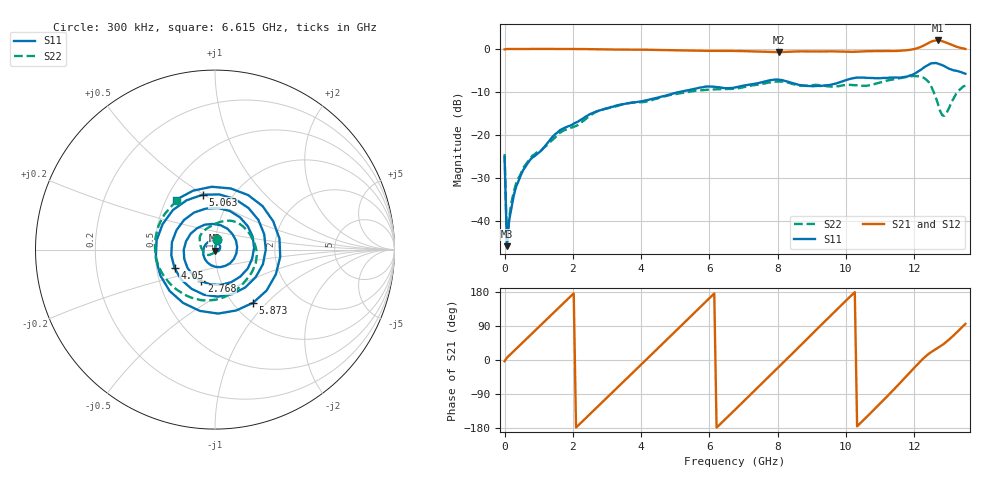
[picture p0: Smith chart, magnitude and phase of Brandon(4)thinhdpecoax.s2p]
!Agilent Technologies,N5230C,MY48100320,A.08.04.10
!Agilent N5230C: A.08.04.10
!Date: Thursday, July 07, 2016 05:45:58
!Correction: S11(Full 2 Port(1,2))
!S21(Full 2 Port(1,2))
!S12(Full 2 Port(1,2))
!S22(Full 2 Port(1,2))
!S2P File: Measurements: S11, S21, S12, S22:
# Hz S  dB  R 50
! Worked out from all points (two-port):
!   201 points, 300 kHz to 13.5 GHz, reference 50 ohm
!   highest |S21| = 2.00 dB at 12.69 GHz (marker M1); lowest = -0.7 dB at 8.033 GHz (marker M2)
!   |S21| within 3 dB of the highest: start of sweep to end of sweep
!   lowest |S11| = -45.9 dB at 67.8 MHz (marker M3), VSWR 1.01, Z = 50 - j0.507 ohm
!   |S11| at or under -10 dB: start of sweep to 5.115 GHz
!   |S22| runs from -44.7 to -6.3 dB; largest |S21 - S12| = 0.0034
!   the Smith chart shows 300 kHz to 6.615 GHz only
!   S11 on the Smith chart (normalised r, x): 300 kHz: 1.01, +0.11; 2.768 GHz: 0.81, -0.30; 4.05 GHz: 0.62, -0.14; 5.063 GHz: 0.73, +0.49; 5.873 GHz: 1.23, -0.84; 6.615 GHz: 0.56, +0.36
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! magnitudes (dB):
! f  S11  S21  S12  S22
! 300 kHz  -25.2  -0.1  -0.1  -24.4
! 67.8 MHz  -45.9  0.0  0.0  -44.7
! 135.3 MHz  -39.8  0.0  0.0  -39.2
! 270.3 MHz  -34.0  0.0  0.0  -33.2
! 540.3 MHz  -28.2  0.0  0.0  -27.7
! 1.485 GHz  -19.8  0.0  0.0  -20.5
! 2.295 GHz  -16.2  0.0  0.0  -16.8
! 2.768 GHz  -14.3  -0.1  -0.1  -14.3
! 4.05 GHz  -12.1  -0.1  -0.1  -12.4
! 4.523 GHz  -11.3  -0.2  -0.2  -11.4
! 5.063 GHz  -10.1  -0.3  -0.3  -10.4
! 5.873 GHz  -8.8  -0.4  -0.4  -9.5
! 6.615 GHz  -9.1  -0.4  -0.4  -9.3
! 6.75 GHz  -8.9  -0.4  -0.4  -9.2
! 8.033 GHz  -7.1  -0.7  -0.7  -7.5
! 9.045 GHz  -8.7  -0.6  -0.6  -8.4
! 11.27 GHz  -6.7  -0.5  -0.5  -7.2
! 12.29 GHz  -4.3  0.8  0.8  -6.7
! 12.69 GHz  -3.4  2.0  2.0  -12.7
! 12.89 GHz  -4.0  1.6  1.6  -15.5
! 13.23 GHz  -5.0  0.6  0.6  -10.4
! 13.5 GHz  -5.7  0.0  0.0  -8.5
